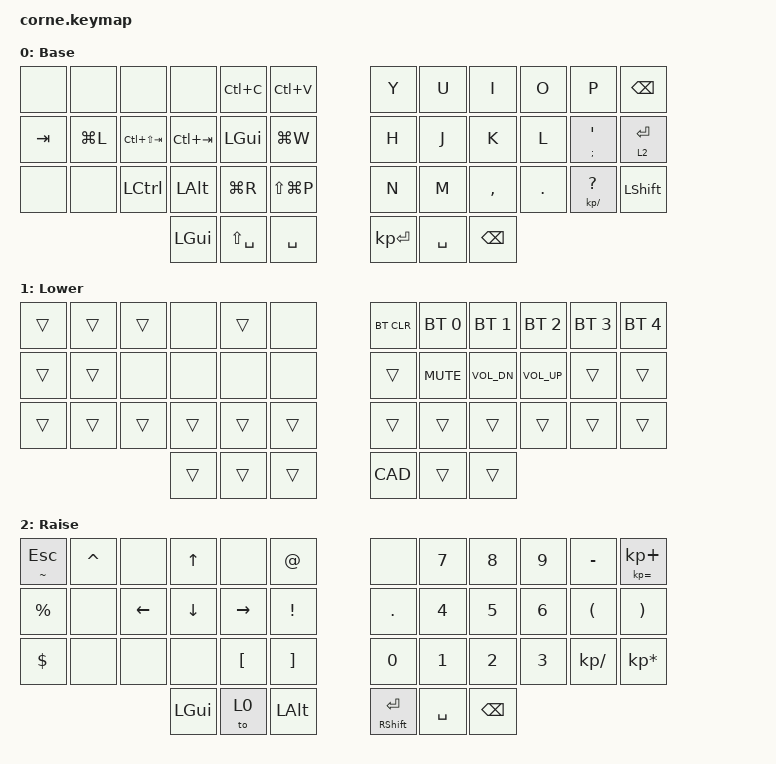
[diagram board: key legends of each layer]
/*
 * Copyright (c) 2020 The ZMK Contributors
 *
 * SPDX-License-Identifier: MIT
 */

#include <behaviors.dtsi>
#include <dt-bindings/zmk/bt.h>
#include <dt-bindings/zmk/keys.h>

/ {
    macros {
        macroRtab: macroRtab {
            compatible = "zmk,behavior-macro";
            #binding-cells = <0>;
            bindings = <&kp LEFT_SHIFT &kp LEFT_ALT &kp RIGHT_BRACE>;
            label = "MACRORTAB";
        };

        macroLtab: macroLtab {
            compatible = "zmk,behavior-macro";
            #binding-cells = <0>;
            bindings = <&kp LEFT_SHIFT &kp LEFT_ALT &kp LEFT_BRACE>;
            label = "MACROLTAB";
        };

        CAD: CAD {
            compatible = "zmk,behavior-macro";
            #binding-cells = <0>;
            bindings = <&kp LCTRL &kp LEFT_ALT &kp DEL>;
            label = "CAD";
        };
    };

    keymap {
        compatible = "zmk,keymap";

        default_layer {
            // -----------------------------------------------------------------------------------------
            // |  TAB |  Q  |  W  |  E  |  R  |  T  |   |  Y  |  U   |  I  |  O  |  P  | BKSP |
            // | CTRL |  A  |  S  |  D  |  F  |  G  |   |  H  |  J   |  K  |  L  |  ;  |  '   |
            // | SHFT |  Z  |  X  |  C  |  V  |  B  |   |  N  |  M   |  ,  |  .  |  /  | ESC  |
            //                    | GUI | LWR | SPC |   | ENT | RSE  | ALT |

            label = "Base";
            bindings = <
&none    &none      &none             &none         &kp LC(C)      &kp LC(V)        &kp Y         &kp U      &kp I          &kp O    &kp P                  &kp BACKSPACE
&kp TAB  &kp LG(L)  &kp LC(LS(TAB))   &kp LC(TAB)   &kp LGUI       &kp LG(W)        &kp H         &kp J      &kp K          &kp L    &mt SEMI APOS          &lt 2 ENTER
&none    &none      &kp LEFT_CONTROL  &kp LEFT_ALT  &kp LG(R)      &kp LS(LG(P))    &kp N         &kp M      &kp COMMA      &kp DOT  &mt KP_SLASH QUESTION  &kp LEFT_SHIFT
                                      &kp LGUI      &kp LS(SPACE)  &kp SPACE        &kp KP_ENTER  &kp SPACE  &kp BACKSPACE
            >;
        };

        lower_layer {
            // -----------------------------------------------------------------------------------------
            // |  TAB |  1  |  2  |  3  |  4  |  5  |   |  6  |  7  |  8  |  9  |  0  | BKSP |
            // | BTCLR| BT1 | BT2 | BT3 | BT4 | BT5 |   | LFT | DWN |  UP | RGT |     |      |
            // | SHFT |     |     |     |     |     |   |     |     |     |     |     |      |
            //                    | GUI |     | SPC |   | ENT |     | ALT |

            label = "Lower";
            bindings = <
&trans  &trans  &trans  &none   &trans  &none     &bt BT_CLR  &bt BT_SEL 0  &bt BT_SEL 1  &bt BT_SEL 2     &bt BT_SEL 3  &bt BT_SEL 4
&trans  &trans  &none   &none   &none   &none     &trans      &kp C_MUTE    &kp C_VOL_DN  &kp C_VOLUME_UP  &trans        &trans
&trans  &trans  &trans  &trans  &trans  &trans    &trans      &trans        &trans        &trans           &trans        &trans
                        &trans  &trans  &trans    &CAD        &trans        &trans
            >;
        };

        raise_layer {
            // -----------------------------------------------------------------------------------------
            // |  TAB |  !  |  @  |  #  |  $  |  %  |   |  ^  |  &  |  *  |  (  |  )  | BKSP |
            // | CTRL |     |     |     |     |     |   |  -  |  =  |  [  |  ]  |  \  |  `   |
            // | SHFT |     |     |     |     |     |   |  _  |  +  |  {  |  }  | "|" |  ~   |
            //                    | GUI |     | SPC |   | ENT |     | ALT |

            label = "Raise";
            bindings = <
&mt TILDE ESC  &kp CARET  &none           &kp UP_ARROW  &none             &kp AT               &none                  &kp NUMBER_7  &kp N8         &kp N9        &kp MINUS             &mt KP_EQUAL KP_PLUS
&kp PERCENT    &none      &kp LEFT_ARROW  &kp DOWN      &kp RIGHT         &kp EXCLAMATION      &kp PERIOD             &kp NUMBER_4  &kp NUMBER_5   &kp NUMBER_6  &kp LEFT_PARENTHESIS  &kp RIGHT_PARENTHESIS
&kp DOLLAR     &none      &none           &none         &kp LEFT_BRACKET  &kp RIGHT_BRACKET    &kp N0                 &kp NUMBER_1  &kp NUMBER_2   &kp NUMBER_3  &kp KP_DIVIDE         &kp KP_MULTIPLY
                                          &kp LEFT_GUI  &to 0             &kp LEFT_ALT         &mt RIGHT_SHIFT ENTER  &kp SPACE     &kp BACKSPACE
            >;
        };
    };
};
